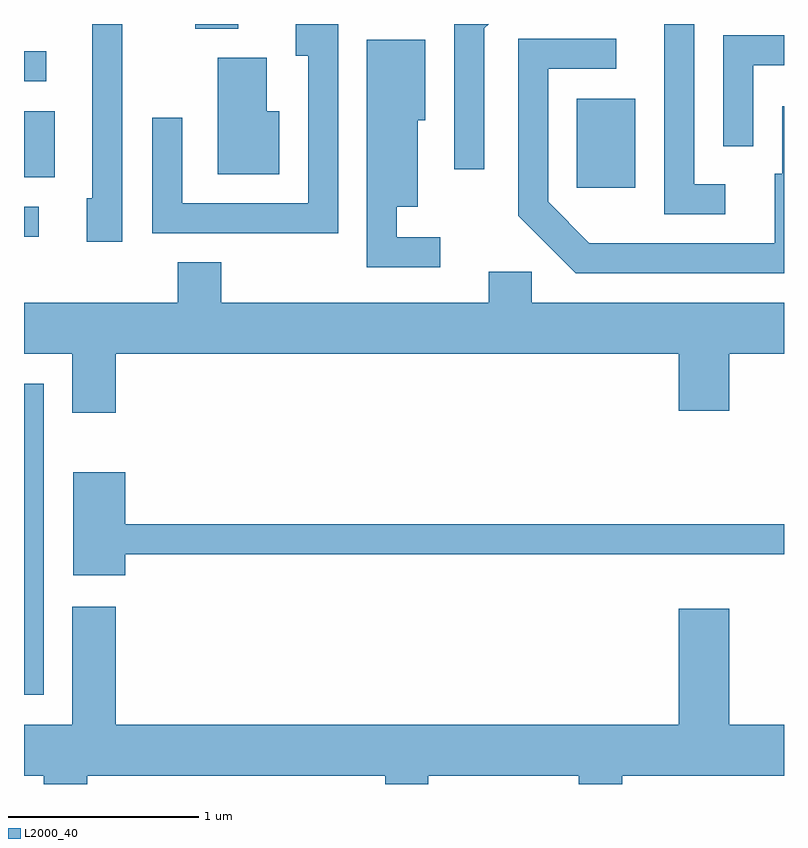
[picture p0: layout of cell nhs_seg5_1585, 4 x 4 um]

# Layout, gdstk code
import gdstk
lib = gdstk.Library(unit=1e-6, precision=1e-09)
def R(c, l, rs):  # rectangles x0, y0, x1, y1
    for r in rs: c.add(gdstk.rectangle(r[:2], r[2:], *l))
def P(c, l, *ps):  # polygons
    for p in ps: c.add(gdstk.Polygon(p, *l))
L2000_40 = (2000, 40)

nhs_seg5_1585 = lib.new_cell('nhs_seg5_1585')
R(nhs_seg5_1585, L2000_40, [(231.611,1470.541,231.714,1472.179), (231.611,1472.951,231.688,1473.109), (234.521,1473.211,234.829,1473.679), (231.611,1473.266,231.774,1473.614), (231.611,1473.771,231.728,1473.929), (232.511,1474.046,232.739,1474.072)])
P(nhs_seg5_1585, L2000_40, [(232.129,1474.072),(231.971,1474.072),(231.971,1473.154),(231.941,1473.154),(231.941,1472.926),(232.129,1472.926)],
  [(235.303,1473.229),(235.139,1473.229),(235.139,1474.072),(234.981,1474.072),(234.981,1473.071),(235.303,1473.071)],
  [(234.034,1474.049),(234.057,1474.072),(233.876,1474.072),(233.876,1473.308),(234.034,1473.308)],
  [(233.264,1474.072),(233.041,1474.072),(233.041,1473.906),(233.106,1473.906),(233.106,1473.129),(232.444,1473.129),(232.444,1473.578),(232.286,1473.578),(232.286,1472.971),(233.264,1472.971)],
  [(235.449,1473.856),(235.611,1473.856),(235.611,1474.014),(235.291,1474.014),(235.291,1473.428),(235.449,1473.428)],
  [(235.611,1473.639),(235.601,1473.639),(235.601,1473.284),(235.561,1473.284),(235.561,1472.919),(234.587,1472.919),(234.369,1473.137),(234.369,1473.836),(234.728,1473.836),(234.728,1473.994),(234.211,1473.994),(234.211,1473.064),(234.514,1472.761),(235.611,1472.761)],
  [(233.803,1472.949),(233.574,1472.949),(233.574,1473.111),(233.684,1473.111),(233.684,1473.566),(233.724,1473.566),(233.724,1473.989),(233.416,1473.989),(233.416,1472.791),(233.803,1472.791)],
  [(232.954,1473.614),(232.889,1473.614),(232.889,1473.894),(232.631,1473.894),(232.631,1473.281),(232.954,1473.281)],
  [(235.056,1472.036),(235.324,1472.036),(235.324,1472.336),(235.611,1472.336),(235.611,1472.604),(234.284,1472.604),(234.284,1472.769),(234.056,1472.769),(234.056,1472.604),(232.649,1472.604),(232.649,1472.819),(232.421,1472.819),(232.421,1472.604),(231.611,1472.604),(231.611,1472.336),(231.866,1472.336),(231.866,1472.026),(232.094,1472.026),(232.094,1472.336),(235.056,1472.336)],
  [(232.144,1471.281),(235.611,1471.281),(235.611,1471.439),(232.144,1471.439),(232.144,1471.714),(231.871,1471.714),(231.871,1471.171),(232.144,1471.171)],
  [(231.944,1470.116),(233.511,1470.116),(233.511,1470.072),(233.739,1470.072),(233.739,1470.116),(234.531,1470.116),(234.531,1470.072),(234.759,1470.072),(234.759,1470.116),(235.611,1470.116),(235.611,1470.384),(235.324,1470.384),(235.324,1470.994),(235.056,1470.994),(235.056,1470.384),(232.094,1470.384),(232.094,1471.004),(231.866,1471.004),(231.866,1470.384),(231.611,1470.384),(231.611,1470.116),(231.716,1470.116),(231.716,1470.072),(231.944,1470.072)])

lib.write_gds('nhs_seg5_1585.gds')
